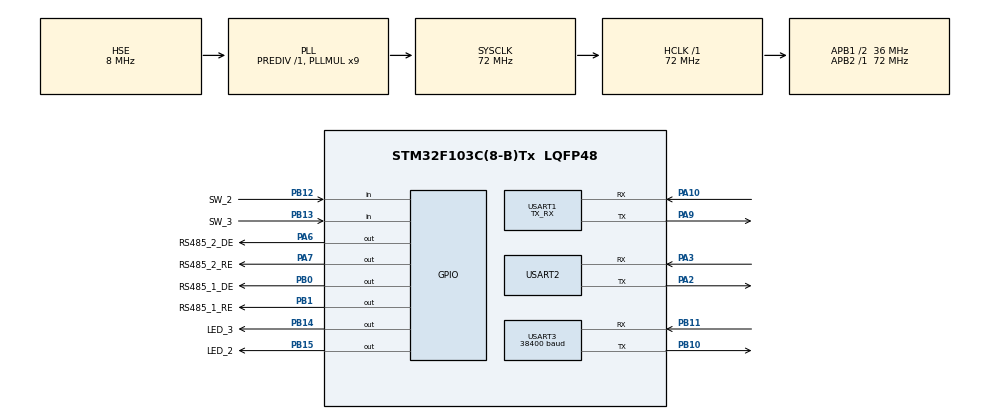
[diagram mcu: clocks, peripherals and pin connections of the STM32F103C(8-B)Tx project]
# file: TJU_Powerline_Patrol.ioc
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Dma.Request0=USART1_RX
Dma.Request1=USART3_TX
Dma.USART1_RX.0.Direction=DMA_PERIPH_TO_MEMORY
Dma.USART1_RX.0.Instance=DMA1_Channel5
Dma.USART1_RX.0.MemDataAlignment=DMA_MDATAALIGN_BYTE
Dma.USART1_RX.0.MemInc=DMA_MINC_ENABLE
Dma.USART1_RX.0.Mode=DMA_NORMAL
Dma.USART1_RX.0.PeriphDataAlignment=DMA_PDATAALIGN_BYTE
Dma.USART1_RX.0.PeriphInc=DMA_PINC_DISABLE
Dma.USART1_RX.0.Priority=DMA_PRIORITY_HIGH
Dma.USART3_TX.1.Direction=DMA_MEMORY_TO_PERIPH
Dma.USART3_TX.1.Instance=DMA1_Channel2
Dma.USART3_TX.1.MemDataAlignment=DMA_MDATAALIGN_BYTE
Dma.USART3_TX.1.MemInc=DMA_MINC_ENABLE
Dma.USART3_TX.1.Mode=DMA_NORMAL
Dma.USART3_TX.1.PeriphDataAlignment=DMA_PDATAALIGN_BYTE
Dma.USART3_TX.1.PeriphInc=DMA_PINC_DISABLE
Dma.USART3_TX.1.Priority=DMA_PRIORITY_LOW
FREERTOS.INCLUDE_xEventGroupSetBitFromISR=1
FREERTOS.INCLUDE_xSemaphoreGetMutexHolder=1
FREERTOS.INCLUDE_xTaskGetCurrentTaskHandle=1
FREERTOS.INCLUDE_xTaskGetHandle=1
FREERTOS.Tasks01=defaultTask,8,64,StartDefaultTask,Default,NULL,Dynamic,NULL,NULL;myTask_WDog,48,64,StartTask_WDog,Default,NULL,Dynamic,NULL,NULL;myTask_232Rx,40,64,StartTask_232Rx,Default,NULL,Dynamic,NULL,NULL;myTask_485C1Tx,16,64,StartTask_485C1Tx,Default,NULL,Dynamic,NULL,NULL;myTask_WorkFlow,24,64,StartTask_WorkFlow,Default,NULL,Dynamic,NULL,NULL
FREERTOS.configLIBRARY_LOWEST_INTERRUPT_PRIORITY=15
FREERTOS.configLIBRARY_MAX_SYSCALL_INTERRUPT_PRIORITY=5
FREERTOS.configMINIMAL_STACK_SIZE=64
IWDG.Reload=4095
Mcu.Family=STM32F1
Mcu.Name=STM32F103C(8-B)Tx
Mcu.Package=LQFP48
NVIC.DMA1_Channel2_IRQn=true\:5\:0\:false\:false\:true\:true\:false\:true\:true
NVIC.DMA1_Channel5_IRQn=true\:5\:0\:false\:false\:true\:true\:false\:true\:true
NVIC.PriorityGroup=NVIC_PRIORITYGROUP_4
NVIC.TIM2_IRQn=true\:15\:0\:false\:false\:true\:false\:false\:true\:true
NVIC.TimeBase=TIM2_IRQn
NVIC.TimeBaseIP=TIM2
NVIC.USART1_IRQn=true\:5\:0\:false\:false\:true\:true\:true\:true\:true
NVIC.USART2_IRQn=true\:6\:0\:true\:false\:true\:true\:true\:true\:true
NVIC.USART3_IRQn=true\:6\:0\:true\:false\:true\:true\:true\:true\:true
PA10.Mode=Asynchronous
PA10.Signal=USART1_RX
PA13.Mode=JTAG_5_pins
PA13.Signal=SYS_JTMS-SWDIO
PA14.Mode=JTAG_5_pins
PA14.Signal=SYS_JTCK-SWCLK
PA15.Mode=JTAG_5_pins
PA15.Signal=SYS_JTDI
PA2.Mode=Asynchronous
PA2.Signal=USART2_TX
PA3.Mode=Asynchronous
PA3.Signal=USART2_RX
PA6.GPIO_Label=RS485_2_DE
PA6.GPIO_PuPd=GPIO_PULLDOWN
PA6.GPIO_Speed=GPIO_SPEED_FREQ_HIGH
PA6.Signal=GPIO_Output
PA7.GPIO_Label=RS485_2_RE
PA7.GPIO_PuPd=GPIO_PULLDOWN
PA7.GPIO_Speed=GPIO_SPEED_FREQ_HIGH
PA7.Signal=GPIO_Output
PA9.Mode=Asynchronous
PA9.Signal=USART1_TX
PB0.GPIO_Label=RS485_1_DE
PB0.GPIO_PuPd=GPIO_PULLDOWN
PB0.GPIO_Speed=GPIO_SPEED_FREQ_HIGH
PB0.Signal=GPIO_Output
PB1.GPIO_Label=RS485_1_RE
PB1.GPIO_PuPd=GPIO_PULLDOWN
PB1.GPIO_Speed=GPIO_SPEED_FREQ_HIGH
PB1.Signal=GPIO_Output
PB10.Mode=Asynchronous
PB10.Signal=USART3_TX
PB11.Mode=Asynchronous
PB11.Signal=USART3_RX
PB12.GPIO_Label=SW_2
PB12.GPIO_PuPd=GPIO_PULLUP
PB12.Signal=GPIO_Input
PB13.GPIO_Label=SW_3
PB13.GPIO_PuPd=GPIO_PULLUP
PB13.Signal=GPIO_Input
PB14.GPIO_Label=LED_3
PB14.GPIO_ModeDefaultOutputPP=GPIO_MODE_OUTPUT_OD
PB14.GPIO_PuPd=GPIO_PULLUP
PB14.GPIO_Speed=GPIO_SPEED_FREQ_HIGH
PB14.PinState=GPIO_PIN_SET
PB14.Signal=GPIO_Output
PB15.GPIO_Label=LED_2
PB15.GPIO_ModeDefaultOutputPP=GPIO_MODE_OUTPUT_OD
PB15.GPIO_PuPd=GPIO_PULLUP
PB15.GPIO_Speed=GPIO_SPEED_FREQ_HIGH
PB15.PinState=GPIO_PIN_SET
PB15.Signal=GPIO_Output
PB3.Mode=JTAG_5_pins
PB3.Signal=SYS_JTDO-TRACESWO
PB4.Mode=JTAG_5_pins
PB4.Signal=SYS_NJTRST
PC14-OSC32_IN.Mode=LSE-External-Oscillator
PC14-OSC32_IN.Signal=RCC_OSC32_IN
PC15-OSC32_OUT.Mode=LSE-External-Oscillator
PC15-OSC32_OUT.Signal=RCC_OSC32_OUT
PD0-OSC_IN.Mode=HSE-External-Oscillator
PD0-OSC_IN.Signal=RCC_OSC_IN
PD1-OSC_OUT.Mode=HSE-External-Oscillator
PD1-OSC_OUT.Signal=RCC_OSC_OUT
ProjectManager.HeapSize=0x200
ProjectManager.StackSize=0x400
ProjectManager.TargetToolchain=MDK-ARM V5.32
RCC.AHBFreq_Value=72000000
RCC.APB1CLKDivider=RCC_HCLK_DIV2
RCC.APB1Freq_Value=36000000
RCC.APB1TimFreq_Value=72000000
RCC.APB2Freq_Value=72000000
RCC.APB2TimFreq_Value=72000000
RCC.HCLKFreq_Value=72000000
RCC.PLLMUL=RCC_PLL_MUL9
RCC.PLLSourceVirtual=RCC_PLLSOURCE_HSE
RCC.SYSCLKFreq_VALUE=72000000
RCC.SYSCLKSource=RCC_SYSCLKSOURCE_PLLCLK
RCC.USBFreq_Value=72000000
RTC.Format=RTC_FORMAT_BCD
RTC.WeekDay=RTC_WEEKDAY_SUNDAY
RTC.Year=23
USART1.Mode=MODE_TX_RX
USART1.VirtualMode=VM_ASYNC
USART2.VirtualMode=VM_ASYNC
USART3.BaudRate=38400
USART3.VirtualMode=VM_ASYNC
VP_FREERTOS_VS_CMSIS_V2.Mode=CMSIS_V2
VP_IWDG_VS_IWDG.Mode=IWDG_Activate
VP_RTC_VS_RTC_Activate.Mode=RTC_Enabled
VP_RTC_VS_RTC_Calendar.Mode=RTC_Calendar
VP_SYS_VS_tim2.Mode=TIM2
board=custom

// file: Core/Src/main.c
/* USER CODE BEGIN Header */
/**
 ******************************************************************************
 * @file           : main.c
 * @brief          : Main program body
 ******************************************************************************
 * @attention
 *
 * Copyright (c) 2023 STMicroelectronics.
 * All rights reserved.
 *
 * This software is licensed under terms that can be found in the LICENSE file
 * in the root directory of this software component.
 * If no LICENSE file comes with this software, it is provided AS-IS.
 *
 ******************************************************************************
 */
/* USER CODE END Header */
#include "main.h"
#include "cmsis_os.h"

/* USER CODE BEGIN Includes */
#include "math.h"
#include "stdlib.h"
/* USER CODE END Includes */

/* USER CODE BEGIN PTD */
typedef enum
{
  RS485_READ = 0,
  RS485_WRITE = 1
} RS485_Status;

typedef enum
{
  RS485_CH1 = 0,
  RS485_CH2 = 1
} RS485_Channel;
/* USER CODE END PTD */

/* USER CODE BEGIN PD */
#define RS232_RX_DATA_LENGTH 35
#define PELCOD_CMD_LENGTH 7
#define PELCOD_CMD_TYPE 6
/* USER CODE END PD */

IWDG_HandleTypeDef hiwdg;

RTC_HandleTypeDef hrtc;

UART_HandleTypeDef huart1;
UART_HandleTypeDef huart2;
UART_HandleTypeDef huart3;
DMA_HandleTypeDef hdma_usart1_rx;
DMA_HandleTypeDef hdma_usart3_tx;

/* Definitions for defaultTask */
osThreadId_t defaultTaskHandle;
const osThreadAttr_t defaultTask_attributes = {
    .name = "defaultTask",
    .stack_size = 64 * 4,
    .priority = (osPriority_t)osPriorityLow,
};
/* Definitions for myTask_WDog */
osThreadId_t myTask_WDogHandle;
const osThreadAttr_t myTask_WDog_attributes = {
    .name = "myTask_WDog",
    .stack_size = 64 * 4,
    .priority = (osPriority_t)osPriorityRealtime,
};
/* Definitions for myTask_232Rx */
osThreadId_t myTask_232RxHandle;
const osThreadAttr_t myTask_232Rx_attributes = {
    .name = "myTask_232Rx",
    .stack_size = 64 * 4,
    .priority = (osPriority_t)osPriorityHigh,
};
/* Definitions for myTask_485C1Tx */
osThreadId_t myTask_485C1TxHandle;
const osThreadAttr_t myTask_485C1Tx_attributes = {
    .name = "myTask_485C1Tx",
    .stack_size = 64 * 4,
    .priority = (osPriority_t)osPriorityBelowNormal,
};
/* Definitions for myTask_WorkFlow */
osThreadId_t myTask_WorkFlowHandle;
const osThreadAttr_t myTask_WorkFlow_attributes = {
    .name = "myTask_WorkFlow",
    .stack_size = 64 * 4,
    .priority = (osPriority_t)osPriorityNormal,
};
/* USER CODE BEGIN PV */
volatile uint8_t g_rs232_status = 0;
volatile uint8_t g_rs232_rx_buf[RS232_RX_DATA_LENGTH] = {0};
volatile uint16_t g_sbus_ch_val[16] = {0};
volatile uint8_t g_sbus_new_frame_flag = 0;
volatile uint8_t g_rs485_tx_buf[PELCOD_CMD_TYPE][PELCOD_CMD_LENGTH] = {0}; // line_0: move, line_1: zoom, line_2: focal, line_3: aperture, line_4: light, line_5: wiper
volatile uint8_t g_pelcod_status[PELCOD_CMD_TYPE] = {0};
volatile uint8_t g_pelcod_new_pack_flag = 0;
/* USER CODE END PV */

void SystemClock_Config(void);
static void MX_GPIO_Init(void);
static void MX_DMA_Init(void);
static void MX_USART1_UART_Init(void);
static void MX_USART2_UART_Init(void);
static void MX_USART3_UART_Init(void);
static void MX_RTC_Init(void);
static void MX_IWDG_Init(void);
void StartDefaultTask(void *argument);
void StartTask_WDog(void *argument);
void StartTask_232Rx(void *argument);
void StartTask_485C1Tx(void *argument);
void StartTask_WorkFlow(void *argument);

/* USER CODE BEGIN PFP */
void RS232_RxEventCallBack(struct __UART_HandleTypeDef *huart, uint16_t Pos);
void RS485_Status_Set(RS485_Channel ch, RS485_Status status);

void SBus_Pelcod_Trans(void);
/* USER CODE END PFP */

int main(void)
{
  /* USER CODE BEGIN 1 */
  __HAL_DBGMCU_FREEZE_IWDG();
	__HAL_DBGMCU_FREEZE_WWDG();
  /* USER CODE END 1 */

  /* MCU Configuration--------------------------------------------------------*/

  /* Reset of all peripherals, Initializes the Flash interface and the Systick. */
  HAL_Init();

  /* Configure the system clock */
  SystemClock_Config();

  /* Initialize all configured peripherals */
  MX_GPIO_Init();
  MX_DMA_Init();
  MX_USART1_UART_Init();
  MX_USART2_UART_Init();
  MX_USART3_UART_Init();
  MX_RTC_Init();
  MX_IWDG_Init();
  /* USER CODE BEGIN 2 */
  HAL_UART_RegisterRxEventCallback(&huart1, RS232_RxEventCallBack);
  RS485_Status_Set(RS485_CH1, RS485_WRITE);
  /* USER CODE END 2 */

  /* Init scheduler */
  osKernelInitialize();

  /* Create the thread(s) */
  /* creation of defaultTask */
  defaultTaskHandle = osThreadNew(StartDefaultTask, NULL, &defaultTask_attributes);

  /* creation of myTask_WDog */
  myTask_WDogHandle = osThreadNew(StartTask_WDog, NULL, &myTask_WDog_attributes);

  /* creation of myTask_232Rx */
  myTask_232RxHandle = osThreadNew(StartTask_232Rx, NULL, &myTask_232Rx_attributes);

  /* creation of myTask_485C1Tx */
  myTask_485C1TxHandle = osThreadNew(StartTask_485C1Tx, NULL, &myTask_485C1Tx_attributes);

  /* creation of myTask_WorkFlow */
  myTask_WorkFlowHandle = osThreadNew(StartTask_WorkFlow, NULL, &myTask_WorkFlow_attributes);

  /* Start scheduler */
  osKernelStart();

  /* We should never get here as control is now taken by the scheduler */
  /* Infinite loop */
  while (1)
  {

  }
}

void SystemClock_Config(void)
{
  RCC_OscInitTypeDef RCC_OscInitStruct = {0};
  RCC_ClkInitTypeDef RCC_ClkInitStruct = {0};
  RCC_PeriphCLKInitTypeDef PeriphClkInit = {0};

  /** Initializes the RCC Oscillators according to the specified parameters
   * in the RCC_OscInitTypeDef structure.
   */
  RCC_OscInitStruct.OscillatorType = RCC_OSCILLATORTYPE_LSI | RCC_OSCILLATORTYPE_HSE;
  RCC_OscInitStruct.HSEState = RCC_HSE_ON;
  RCC_OscInitStruct.HSEPredivValue = RCC_HSE_PREDIV_DIV1;
  RCC_OscInitStruct.HSIState = RCC_HSI_ON;
  RCC_OscInitStruct.LSIState = RCC_LSI_ON;
  RCC_OscInitStruct.PLL.PLLState = RCC_PLL_ON;
  RCC_OscInitStruct.PLL.PLLSource = RCC_PLLSOURCE_HSE;
  RCC_OscInitStruct.PLL.PLLMUL = RCC_PLL_MUL9;
  if (HAL_RCC_OscConfig(&RCC_OscInitStruct) != HAL_OK)
  {
    Error_Handler();
  }

  /** Initializes the CPU, AHB and APB buses clocks
   */
  RCC_ClkInitStruct.ClockType = RCC_CLOCKTYPE_HCLK | RCC_CLOCKTYPE_SYSCLK | RCC_CLOCKTYPE_PCLK1 | RCC_CLOCKTYPE_PCLK2;
  RCC_ClkInitStruct.SYSCLKSource = RCC_SYSCLKSOURCE_PLLCLK;
  RCC_ClkInitStruct.AHBCLKDivider = RCC_SYSCLK_DIV1;
  RCC_ClkInitStruct.APB1CLKDivider = RCC_HCLK_DIV2;
  RCC_ClkInitStruct.APB2CLKDivider = RCC_HCLK_DIV1;

  if (HAL_RCC_ClockConfig(&RCC_ClkInitStruct, FLASH_LATENCY_2) != HAL_OK)
  {
    Error_Handler();
  }
  PeriphClkInit.PeriphClockSelection = RCC_PERIPHCLK_RTC;
  PeriphClkInit.RTCClockSelection = RCC_RTCCLKSOURCE_LSI;
  if (HAL_RCCEx_PeriphCLKConfig(&PeriphClkInit) != HAL_OK)
  {
    Error_Handler();
  }
}

static void MX_IWDG_Init(void)
{

  hiwdg.Instance = IWDG;
  hiwdg.Init.Prescaler = IWDG_PRESCALER_4;
  hiwdg.Init.Reload = 4095;
  if (HAL_IWDG_Init(&hiwdg) != HAL_OK)
  {
    Error_Handler();
  }
}

static void MX_RTC_Init(void)
{

  RTC_TimeTypeDef sTime = {0};
  RTC_DateTypeDef DateToUpdate = {0};

  /** Initialize RTC Only
   */
  hrtc.Instance = RTC;
  hrtc.Init.AsynchPrediv = RTC_AUTO_1_SECOND;
  hrtc.Init.OutPut = RTC_OUTPUTSOURCE_ALARM;
  if (HAL_RTC_Init(&hrtc) != HAL_OK)
  {
    Error_Handler();
  }

  /** Initialize RTC and set the Time and Date
   */
  sTime.Hours = 0x0;
  sTime.Minutes = 0x0;
  sTime.Seconds = 0x0;

  if (HAL_RTC_SetTime(&hrtc, &sTime, RTC_FORMAT_BCD) != HAL_OK)
  {
    Error_Handler();
  }
  DateToUpdate.WeekDay = RTC_WEEKDAY_SUNDAY;
  DateToUpdate.Month = RTC_MONTH_JANUARY;
  DateToUpdate.Date = 0x1;
  DateToUpdate.Year = 0x23;

  if (HAL_RTC_SetDate(&hrtc, &DateToUpdate, RTC_FORMAT_BCD) != HAL_OK)
  {
    Error_Handler();
  }
}

static void MX_USART1_UART_Init(void)
{

  huart1.Instance = USART1;
  huart1.Init.BaudRate = 115200;
  huart1.Init.WordLength = UART_WORDLENGTH_8B;
  huart1.Init.StopBits = UART_STOPBITS_1;
  huart1.Init.Parity = UART_PARITY_NONE;
  huart1.Init.Mode = UART_MODE_TX_RX;
  huart1.Init.HwFlowCtl = UART_HWCONTROL_NONE;
  huart1.Init.OverSampling = UART_OVERSAMPLING_16;
  if (HAL_UART_Init(&huart1) != HAL_OK)
  {
    Error_Handler();
  }
}

static void MX_USART2_UART_Init(void)
{

  huart2.Instance = USART2;
  huart2.Init.BaudRate = 115200;
  huart2.Init.WordLength = UART_WORDLENGTH_8B;
  huart2.Init.StopBits = UART_STOPBITS_1;
  huart2.Init.Parity = UART_PARITY_NONE;
  huart2.Init.Mode = UART_MODE_TX_RX;
  huart2.Init.HwFlowCtl = UART_HWCONTROL_NONE;
  huart2.Init.OverSampling = UART_OVERSAMPLING_16;
  if (HAL_UART_Init(&huart2) != HAL_OK)
  {
    Error_Handler();
  }
}

static void MX_USART3_UART_Init(void)
{

  huart3.Instance = USART3;
  huart3.Init.BaudRate = 38400;
  huart3.Init.WordLength = UART_WORDLENGTH_8B;
  huart3.Init.StopBits = UART_STOPBITS_1;
  huart3.Init.Parity = UART_PARITY_NONE;
  huart3.Init.Mode = UART_MODE_TX_RX;
  huart3.Init.HwFlowCtl = UART_HWCONTROL_NONE;
  huart3.Init.OverSampling = UART_OVERSAMPLING_16;
  if (HAL_UART_Init(&huart3) != HAL_OK)
  {
    Error_Handler();
  }
}

static void MX_DMA_Init(void)
{

  /* DMA controller clock enable */
  __HAL_RCC_DMA1_CLK_ENABLE();

  /* DMA interrupt init */
  /* DMA1_Channel2_IRQn interrupt configuration */
  HAL_NVIC_SetPriority(DMA1_Channel2_IRQn, 5, 0);
  HAL_NVIC_EnableIRQ(DMA1_Channel2_IRQn);
  /* DMA1_Channel5_IRQn interrupt configuration */
  HAL_NVIC_SetPriority(DMA1_Channel5_IRQn, 5, 0);
  HAL_NVIC_EnableIRQ(DMA1_Channel5_IRQn);
}

static void MX_GPIO_Init(void)
{
  GPIO_InitTypeDef GPIO_InitStruct = {0};

  /* GPIO Ports Clock Enable */
  __HAL_RCC_GPIOC_CLK_ENABLE();
  __HAL_RCC_GPIOD_CLK_ENABLE();
  __HAL_RCC_GPIOA_CLK_ENABLE();
  __HAL_RCC_GPIOB_CLK_ENABLE();

  /*Configure GPIO pin Output Level */
  HAL_GPIO_WritePin(GPIOA, RS485_2_DE_Pin | RS485_2_RE_Pin, GPIO_PIN_RESET);

  /*Configure GPIO pin Output Level */
  HAL_GPIO_WritePin(GPIOB, RS485_1_DE_Pin | RS485_1_RE_Pin, GPIO_PIN_RESET);

  /*Configure GPIO pin Output Level */
  HAL_GPIO_WritePin(GPIOB, LED_3_Pin | LED_2_Pin, GPIO_PIN_SET);

  /*Configure GPIO pins : RS485_2_DE_Pin RS485_2_RE_Pin */
  GPIO_InitStruct.Pin = RS485_2_DE_Pin | RS485_2_RE_Pin;
  GPIO_InitStruct.Mode = GPIO_MODE_OUTPUT_PP;
  GPIO_InitStruct.Pull = GPIO_PULLDOWN;
  GPIO_InitStruct.Speed = GPIO_SPEED_FREQ_HIGH;
  HAL_GPIO_Init(GPIOA, &GPIO_InitStruct);

  /*Configure GPIO pins : RS485_1_DE_Pin RS485_1_RE_Pin */
  GPIO_InitStruct.Pin = RS485_1_DE_Pin | RS485_1_RE_Pin;
  GPIO_InitStruct.Mode = GPIO_MODE_OUTPUT_PP;
  GPIO_InitStruct.Pull = GPIO_PULLDOWN;
  GPIO_InitStruct.Speed = GPIO_SPEED_FREQ_HIGH;
  HAL_GPIO_Init(GPIOB, &GPIO_InitStruct);

  /*Configure GPIO pins : SW_2_Pin SW_3_Pin */
  GPIO_InitStruct.Pin = SW_2_Pin | SW_3_Pin;
  GPIO_InitStruct.Mode = GPIO_MODE_INPUT;
  GPIO_InitStruct.Pull = GPIO_PULLUP;
  HAL_GPIO_Init(GPIOB, &GPIO_InitStruct);

  /*Configure GPIO pins : LED_3_Pin LED_2_Pin */
  GPIO_InitStruct.Pin = LED_3_Pin | LED_2_Pin;
  GPIO_InitStruct.Mode = GPIO_MODE_OUTPUT_OD;
  GPIO_InitStruct.Pull = GPIO_PULLUP;
  GPIO_InitStruct.Speed = GPIO_SPEED_FREQ_HIGH;
  HAL_GPIO_Init(GPIOB, &GPIO_InitStruct);

}

/* USER CODE BEGIN 4 */
void RS232_RxEventCallBack(struct __UART_HandleTypeDef *huart, uint16_t Pos)
{
  HAL_UART_RxEventTypeTypeDef event_type = 3;
  event_type = HAL_UARTEx_GetRxEventType(huart);
  switch (event_type)
  {
  case HAL_UART_RXEVENT_TC:
    if ((g_rs232_rx_buf[33] & 0x0F) == 0x0C)
    {
      uint8_t rs232_xor_result = 0;
      for (uint8_t i = 1; i < (RS232_RX_DATA_LENGTH - 1); i++)
      {
        rs232_xor_result = rs232_xor_result ^ g_rs232_rx_buf[i];
      }
      if (rs232_xor_result == g_rs232_rx_buf[34])
      {
        if (g_sbus_new_frame_flag == 0)
        {
          for (uint8_t i = 0; i < 16; i++)
          {
            g_sbus_ch_val[i] = ((uint16_t)g_rs232_rx_buf[2 * i + 1] << 8) | (uint16_t)g_rs232_rx_buf[2 * i + 2];
          }
          g_sbus_new_frame_flag = 1;
					HAL_GPIO_TogglePin(LED_3_GPIO_Port, LED_3_Pin);
        }
      }
    }
    g_rs232_status = 0;
    break;
  case HAL_UART_RXEVENT_HT:
    /* code */
    break;
  case HAL_UART_RXEVENT_IDLE:
    g_rs232_status = 0;
    break;

  default:
    break;
  }
}

void RS485_Status_Set(RS485_Channel ch, RS485_Status status)
{
  if (status == RS485_READ)
  {
    switch (ch)
    {
    case RS485_CH1:
      HAL_GPIO_WritePin(RS485_1_DE_GPIO_Port, RS485_1_DE_Pin, GPIO_PIN_RESET);
      HAL_GPIO_WritePin(RS485_1_RE_GPIO_Port, RS485_1_RE_Pin, GPIO_PIN_RESET);
      break;
    case RS485_CH2:
      HAL_GPIO_WritePin(RS485_2_DE_GPIO_Port, RS485_2_DE_Pin, GPIO_PIN_RESET);
      HAL_GPIO_WritePin(RS485_2_RE_GPIO_Port, RS485_2_RE_Pin, GPIO_PIN_RESET);
      break;

    default:
      break;
    }
  }
  else if (status == RS485_WRITE)
  {
    switch (ch)
    {
    case RS485_CH1:
      HAL_GPIO_WritePin(RS485_1_DE_GPIO_Port, RS485_1_DE_Pin, GPIO_PIN_SET);
      HAL_GPIO_WritePin(RS485_1_RE_GPIO_Port, RS485_1_RE_Pin, GPIO_PIN_SET);
      break;
    case RS485_CH2:
      HAL_GPIO_WritePin(RS485_2_DE_GPIO_Port, RS485_2_DE_Pin, GPIO_PIN_SET);
      HAL_GPIO_WritePin(RS485_2_RE_GPIO_Port, RS485_2_RE_Pin, GPIO_PIN_SET);
      break;

    default:
      break;
    }
  }
  else
  {
    return;
  }
}

void SBus_Pelcod_Trans(void)
{
  uint8_t up_down_flag = 0;     // 0 stop 1 down 2 up
  uint8_t up_down_speed = 0;    // 0-63-255
  uint8_t left_right_flag = 0;  // 0 stop 1 left 2 right
  uint8_t left_right_speed = 0; // 0-63-255
  // uint8_t func_code_1 = 0;
  uint8_t func_code_2 = 0;
  uint16_t check_code = 0;
  static uint8_t not_move_cnt = 0;

  for (int i = 0; i < PELCOD_CMD_TYPE; i++) // clear cmd history
  {
    for (int j = 0; j < PELCOD_CMD_LENGTH; j++)
    {
      g_rs485_tx_buf[i][j] = 0;
    }
  }

  if (g_sbus_ch_val[2] >= 1550) // up
  {
    up_down_flag = 2;
    if (g_sbus_ch_val[2] >= 1850) // up turbo
    {
      up_down_speed = 0xFF;
    }
    else
    {
      up_down_speed = (g_sbus_ch_val[2] - 1550) * 63 / 300;
    }
  }
  else if (g_sbus_ch_val[2] <= 1450) // down
  {
    up_down_flag = 1;
    if (g_sbus_ch_val[2] <= 1150) // down turbo
    {
      up_down_speed = 0xFF;
    }
    else
    {
      up_down_speed = (1450 - g_sbus_ch_val[2]) * 63 / 300;
    }
  }
  else
  {
    up_down_flag = 0;
    up_down_speed = 0;
  }

  if (g_sbus_ch_val[3] >= 1550) // right
  {
    left_right_flag = 2;
    if (g_sbus_ch_val[3] >= 1850) // right turbo
    {
      left_right_speed = 0xFF;
    }
    else
    {
      left_right_speed = (g_sbus_ch_val[3] - 1550) * 63 / 300;
    }
  }
  else if (g_sbus_ch_val[3] <= 1450) // left
  {
    left_right_flag = 1;
    if (g_sbus_ch_val[3] <= 1150) // left turbo
    {
      left_right_speed = 0xFF;
    }
    else
    {
      left_right_speed = (1450 - g_sbus_ch_val[3]) * 63 / 300;
    }
  }
  else
  {
    left_right_flag = 0;
    left_right_speed = 0;
  }

  func_code_2 = 0;
  if (up_down_flag == 2)
  {
    func_code_2 |= 0x08;
  }
  else // if (up_down_flag == 1)
  {
    func_code_2 |= 0x10;
  }
  // else
  // {
  //   func_code_2 &= ~(0x18);
  // }
  if (left_right_flag == 2)
  {
    func_code_2 |= 0x02;
  }
  else // if (left_right_flag == 1)
  {
    func_code_2 |= 0x04;
  }
  // else
  // {
  //   func_code_2 &= ~(0x06);
  // }

  if (up_down_flag == 0 && left_right_flag == 0)
  {
    if (g_pelcod_status[0] != 0)
    {
      not_move_cnt += 1;
      if (not_move_cnt > 10)
      {
        g_pelcod_status[0] = 0;
        not_move_cnt = 0;
      }
    }
  }
  else
  {
    g_pelcod_status[0] = 1;
  }

  if (g_pelcod_status[0] == 1)
  {
    g_rs485_tx_buf[0][0] = 0xFF;
    g_rs485_tx_buf[0][1] = 0x01;
    g_rs485_tx_buf[0][2] = 0x00;
    g_rs485_tx_buf[0][3] = func_code_2;
    g_rs485_tx_buf[0][4] = left_right_speed;
    g_rs485_tx_buf[0][5] = up_down_speed;
    check_code = 0;
    for (int i = 1; i < 6; i++)
    {
      check_code += g_rs485_tx_buf[0][i];
    }
    check_code = check_code % 256;
    g_rs485_tx_buf[0][6] = (uint8_t)(check_code & 0x00FF);
  }
  else
  {
    for (int i = 0; i < PELCOD_CMD_LENGTH; i++)
    {
      g_rs485_tx_buf[0][i] = 0;
    }
  }

  if (g_sbus_ch_val[6] > 1750) // zoom
  {
    if (g_pelcod_status[1] != 2)
    {
      g_rs485_tx_buf[1][0] = 0xFF;
      g_rs485_tx_buf[1][1] = 0x01;
      g_rs485_tx_buf[1][2] = 0x00;
      g_rs485_tx_buf[1][3] = 0x20;
      g_rs485_tx_buf[1][4] = 0x00;
      g_rs485_tx_buf[1][5] = 0x00;
      g_rs485_tx_buf[1][6] = 0x21;
      g_pelcod_status[1] = 2;
    }
    else
    {
      for (int i = 0; i < PELCOD_CMD_LENGTH; i++)
      {
        g_rs485_tx_buf[1][i] = 0;
      }
    }
  }
  else if (g_sbus_ch_val[6] < 1250)
  {
    if (g_pelcod_status[1] != 1)
    {
      g_rs485_tx_buf[1][0] = 0xFF;
      g_rs485_tx_buf[1][1] = 0x01;
      g_rs485_tx_buf[1][2] = 0x00;
      g_rs485_tx_buf[1][3] = 0x40;
      g_rs485_tx_buf[1][4] = 0x00;
      g_rs485_tx_buf[1][5] = 0x00;
      g_rs485_tx_buf[1][6] = 0x41;
      g_pelcod_status[1] = 1;
    }
    else
    {
      for (int i = 0; i < PELCOD_CMD_LENGTH; i++)
      {
        g_rs485_tx_buf[1][i] = 0;
      }
    }
  }
  else
  {
    if (g_pelcod_status[1] != 0)
    {
      g_rs485_tx_buf[1][0] = 0xFF;
      g_rs485_tx_buf[1][1] = 0x01;
      g_rs485_tx_buf[1][2] = 0x00;
      g_rs485_tx_buf[1][3] = 0x00;
      g_rs485_tx_buf[1][4] = 0x00;
      g_rs485_tx_buf[1][5] = 0x00;
      g_rs485_tx_buf[1][6] = 0x01;
      g_pelcod_status[1] = 0;
    }
    else
    {
      for (int i = 0; i < PELCOD_CMD_LENGTH; i++)
      {
        g_rs485_tx_buf[1][i] = 0;
      }
    }
  }

  if (g_sbus_ch_val[7] > 1750) // focal
  {
    if (g_pelcod_status[2] != 2)
    {
      g_rs485_tx_buf[2][0] = 0xFF;
      g_rs485_tx_buf[2][1] = 0x01;
      g_rs485_tx_buf[2][2] = 0x01;
      g_rs485_tx_buf[2][3] = 0x00;
      g_rs485_tx_buf[2][4] = 0x00;
      g_rs485_tx_buf[2][5] = 0x00;
      g_rs485_tx_buf[2][6] = 0x02;
      g_pelcod_status[2] = 2;
    }
    else
    {
      for (int i = 0; i < PELCOD_CMD_LENGTH; i++)
      {
        g_rs485_tx_buf[2][i] = 0;
      }
    }
  }
  else if (g_sbus_ch_val[7] < 1250)
  {
    if (g_pelcod_status[2] != 1)
    {
      g_rs485_tx_buf[2][0] = 0xFF;
      g_rs485_tx_buf[2][1] = 0x01;
      g_rs485_tx_buf[2][2] = 0x00;
      g_rs485_tx_buf[2][3] = 0x80;
      g_rs485_tx_buf[2][4] = 0x00;
      g_rs485_tx_buf[2][5] = 0x00;
      g_rs485_tx_buf[2][6] = 0x81;
      g_pelcod_status[2] = 1;
    }
    else
    {
      for (int i = 0; i < PELCOD_CMD_LENGTH; i++)
      {
        g_rs485_tx_buf[2][i] = 0;
      }
    }
  }
  else
  {
    if (g_pelcod_status[2] != 0)
    {
      g_rs485_tx_buf[2][0] = 0xFF;
      g_rs485_tx_buf[2][1] = 0x01;
      g_rs485_tx_buf[2][2] = 0x00;
      g_rs485_tx_buf[2][3] = 0x00;
      g_rs485_tx_buf[2][4] = 0x00;
      g_rs485_tx_buf[2][5] = 0x00;
      g_rs485_tx_buf[2][6] = 0x01;
      g_pelcod_status[2] = 0;
    }
    else
    {
      for (int i = 0; i < PELCOD_CMD_LENGTH; i++)
      {
        g_rs485_tx_buf[2][i] = 0;
      }
    }
  }

  // if (g_sbus_ch_val[4] > 1750) // light
  // {
  //   g_rs485_tx_buf[4][0] = 0x00;
  //   g_rs485_tx_buf[4][1] = 0x00;
  //   g_rs485_tx_buf[4][2] = 0x00;
  //   g_rs485_tx_buf[4][3] = 0x00;
  //   g_rs485_tx_buf[4][4] = 0x00;
  //   g_rs485_tx_buf[4][5] = 0x00;
  //   g_rs485_tx_buf[4][6] = 0x00;
  // }
  // else if (g_sbus_ch_val[4] < 1250)
  // {
  //   g_rs485_tx_buf[4][0] = 0x00;
  //   g_rs485_tx_buf[4][1] = 0x00;
  //   g_rs485_tx_buf[4][2] = 0x00;
  //   g_rs485_tx_buf[4][3] = 0x00;
  //   g_rs485_tx_buf[4][4] = 0x00;
  //   g_rs485_tx_buf[4][5] = 0x00;
  //   g_rs485_tx_buf[4][6] = 0x00;
  // }
  // else
  // {
  //   g_rs485_tx_buf[4][0] = 0x00;
  //   g_rs485_tx_buf[4][1] = 0x00;
  //   g_rs485_tx_buf[4][2] = 0x00;
  //   g_rs485_tx_buf[4][3] = 0x00;
  //   g_rs485_tx_buf[4][4] = 0x00;
  //   g_rs485_tx_buf[4][5] = 0x00;
  //   g_rs485_tx_buf[4][6] = 0x00;
  // }
}
/* USER CODE END 4 */

void StartDefaultTask(void *argument)
{
  /* USER CODE BEGIN 5 */
  /* Infinite loop */
  for (;;)
  {
    osDelay(500);
    HAL_GPIO_TogglePin(LED_2_GPIO_Port, LED_2_Pin);
  }
  /* USER CODE END 5 */
}

void StartTask_WDog(void *argument)
{
  /* USER CODE BEGIN StartTask_WDog */
  TickType_t xLastWakeTime;
  /* Infinite loop */
  for (;;)
  {
    xLastWakeTime = osKernelGetTickCount();
    osDelayUntil(xLastWakeTime + 300);
    HAL_IWDG_Refresh(&hiwdg);
  }
  /* USER CODE END StartTask_WDog */
}

void StartTask_232Rx(void *argument)
{
  /* USER CODE BEGIN StartTask_232Rx */
  TickType_t xLastWakeTime;
  /* Infinite loop */
  for (;;)
  {
    xLastWakeTime = osKernelGetTickCount();
    osDelayUntil(xLastWakeTime + 5);
    switch (g_rs232_status)
    {
    case 0:
      if (HAL_UARTEx_ReceiveToIdle_DMA(&huart1, (uint8_t *)g_rs232_rx_buf, RS232_RX_DATA_LENGTH) == HAL_OK)
      {
        g_rs232_status = 1;
      }
      break;

    default:
      break;
    }
  }
  /* USER CODE END StartTask_232Rx */
}

void StartTask_485C1Tx(void *argument)
{
  /* USER CODE BEGIN StartTask_485C1Tx */
  static int8_t rs485_tx_line = (PELCOD_CMD_TYPE - 1);
  /* Infinite loop */
  for (;;)
  {
    osDelay(20);
    if (g_pelcod_new_pack_flag == 1) // a new pack needs to be sent
    {
      while (rs485_tx_line >= 0) // find valid frame
      {
        if (g_rs485_tx_buf[rs485_tx_line][0] == 0xFF) // valid frame
        {
          break;
        }
        else // empty frame
        {
          rs485_tx_line -= 1;
        }
      }
      if (rs485_tx_line >= 0)
      {
        HAL_UART_Transmit_DMA(&huart3, (uint8_t *)&g_rs485_tx_buf[rs485_tx_line][0], PELCOD_CMD_LENGTH);
        rs485_tx_line -= 1;
      }

      if (rs485_tx_line < 0)
      {
        g_pelcod_new_pack_flag = 0;
        rs485_tx_line = (PELCOD_CMD_TYPE - 1);
      }
    }
  }
  /* USER CODE END StartTask_485C1Tx */
}

void StartTask_WorkFlow(void *argument)
{
  /* USER CODE BEGIN StartTask_WorkFlow */
  static uint16_t miss_cnt = 0;
  static uint8_t connect_flag = 0;
  /* Infinite loop */
  for (;;)
  {
    osDelay(5);
    if (g_sbus_new_frame_flag == 1 && g_pelcod_new_pack_flag == 0)
    {
      SBus_Pelcod_Trans();
      g_pelcod_new_pack_flag = 1;
      g_sbus_new_frame_flag = 0;
      connect_flag = 1;
      miss_cnt = 0;
    }
    else
    {
      if (connect_flag == 1)
      {
        miss_cnt += 1;
        if (miss_cnt > 200)
        {
          // fall safe execution
          g_rs485_tx_buf[0][0] = 0xFF;
          g_rs485_tx_buf[0][1] = 0x01;
          g_rs485_tx_buf[0][2] = 0x00;
          g_rs485_tx_buf[0][3] = 0x00;
          g_rs485_tx_buf[0][4] = 0x00;
          g_rs485_tx_buf[0][5] = 0x00;
          g_rs485_tx_buf[0][6] = 0x01;
          for (int i = 1; i < PELCOD_CMD_TYPE; i++)
          {
            for (int j = 0; j < PELCOD_CMD_LENGTH; j++)
            {
              g_rs485_tx_buf[i][j] = 0;
            }
          }
          g_pelcod_new_pack_flag = 1;
          g_sbus_new_frame_flag = 0;
          miss_cnt = 0;
          connect_flag = 0;
        }
      }
    }
  }
  /* USER CODE END StartTask_WorkFlow */
}

void HAL_TIM_PeriodElapsedCallback(TIM_HandleTypeDef *htim)
{
  if (htim->Instance == TIM2)
  {
    HAL_IncTick();
  }
}

void Error_Handler(void)
{
  __disable_irq();
  while (1)
  {
  }
}
